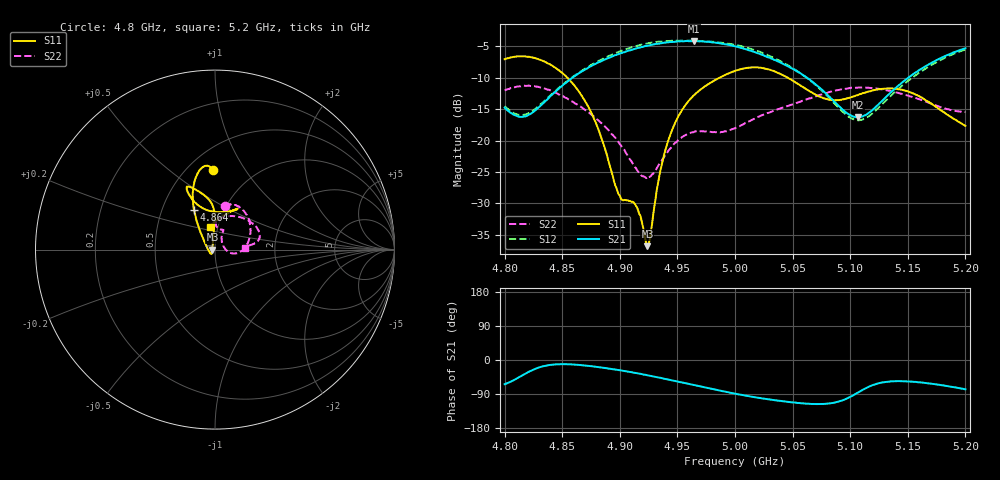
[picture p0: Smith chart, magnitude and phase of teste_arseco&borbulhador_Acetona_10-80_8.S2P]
! Network Analyzer HP8722D
! Hewlett-Packard
! Data name: Linha & Wilkinson
! Saver's name: Rodrigo Anjos
! Comments: Teste da utilização de aquisição
! continua pelo VNA HP8722D
! Time and date: 25/4/2025 15:20
!  Frequency  S11  S21  S12  S22
# HZ  S  MA R 50
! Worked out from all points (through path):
!   401 points, 4.8 GHz to 5.2 GHz, reference 50 ohm
!   highest |S21| = -4.12 dB at 4.964 GHz (marker M1); lowest = -16.3 dB at 5.107 GHz (marker M2)
!   lowest |S11| = -36.8 dB at 4.924 GHz (marker M3), VSWR 1.03, Z = 48.6 + j0.028 ohm
!   |S11| at or under -10 dB: 4.855 GHz to 4.986 GHz (131.8 MHz wide, 2.68 % of centre); 5.046 GHz to end of sweep
!   |S22| runs from -26.0 to -11.2 dB; largest |S21 - S12| = 1.2
!   S11 on the Smith chart (normalised r, x): 4.8 GHz: 0.65, +0.73; 4.864 GHz: 0.72, +0.34; 5.2 GHz: 0.92, +0.24
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4.8e9  0.4454 91.7  0.1829 -64.0  0.1882 69.3  0.2515 77.3
4.82e9  0.4652 98.0  0.1587 -32.7  0.1641 97.9  0.2732 62.0
4.844e9  0.3806 108.0  0.2447 -11.7  0.248 118.9  0.2413 36.4
4.864e9  0.2498 117.9  0.3421 -12.8  0.3451 120.8  0.1908 13.3
4.867e9  0.2273 119.5  0.3562 -13.8  0.3604 120.4  0.1835 10.2
4.881e9  0.1257 130.1  0.4186 -18.5  0.4284 117.8  0.1458 -3.5
4.899e9  0.03731 -177.6  0.4893 -26.7  0.5103 111.9  0.09691 -12.0
4.914e9  0.03031 -128.6  0.5417 -34.4  0.5667 105.1  0.06027 -0.7
4.924e9  0.01439 178.9  0.5709 -40.3  0.5948 99.5  0.0518 28.8
4.927e9  0.01874 137.5  0.5781 -42.2  0.6033 97.6  0.05219 38.0
4.934e9  0.0502 102.4  0.5919 -46.6  0.6166 93.3  0.06447 54.4
4.94e9  0.0868 95.2  0.6036 -50.4  0.6212 89.4  0.07816 61.8
4.946e9  0.1251 92.2  0.6111 -54.2  0.6264 85.7  0.09182 64.9
4.964e9  0.2287 91.9  0.6222 -66.0  0.6247 74.1  0.1165 66.6
5e9  0.3598 109.1  0.5644 -88.8  0.582 50.7  0.1256 84.9
5.031e9  0.365 115.2  0.4528 -104.5  0.4688 33.3  0.1691 83.7
5.067e9  0.2409 106.5  0.2955 -115.9  0.2928 23.4  0.2202 56.6
5.086e9  0.2094 88.0  0.2052 -112.6  0.199 28.5  0.249 39.7
5.107e9  0.2318 67.8  0.1532 -85.4  0.1448 57.6  0.2646 24.2
5.134e9  0.2603 61.0  0.2363 -56.7  0.2217 88.6  0.2496 12.5
5.168e9  0.2039 73.3  0.4039 -61.7  0.3883 85.1  0.2003 7.4
5.2e9  0.1309 101.6  0.544 -77.3  0.5318 70.2  0.1687 3.3
